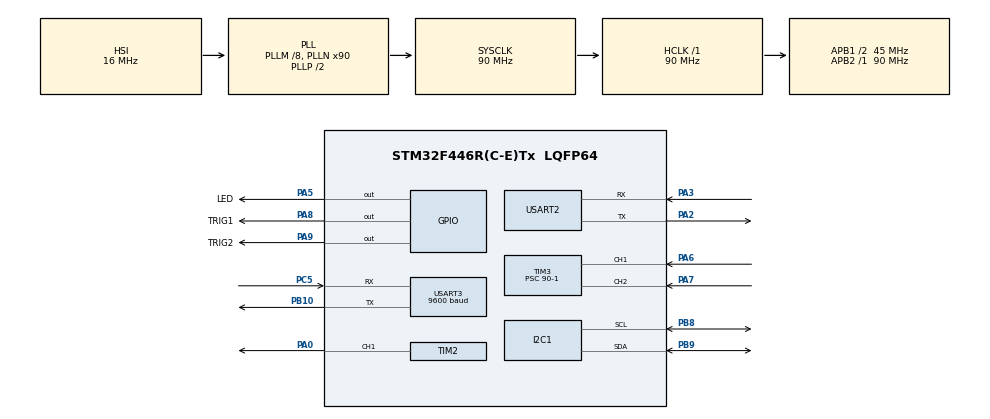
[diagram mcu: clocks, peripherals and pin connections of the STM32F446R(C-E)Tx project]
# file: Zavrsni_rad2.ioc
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Mcu.Family=STM32F4
Mcu.Name=STM32F446R(C-E)Tx
Mcu.Package=LQFP64
NVIC.PriorityGroup=NVIC_PRIORITYGROUP_4
NVIC.TIM2_IRQn=true\:0\:0\:false\:false\:true\:true\:true\:true
NVIC.TIM3_IRQn=true\:0\:0\:false\:false\:true\:true\:true\:true
NVIC.USART3_IRQn=true\:0\:0\:false\:false\:true\:true\:true\:true
PA0-WKUP.Signal=S_TIM2_CH1_ETR
PA13.Mode=Serial_Wire
PA13.Signal=SYS_JTMS-SWDIO
PA14.Mode=Serial_Wire
PA14.Signal=SYS_JTCK-SWCLK
PA2.Mode=Asynchronous
PA2.Signal=USART2_TX
PA3.Mode=Asynchronous
PA3.Signal=USART2_RX
PA5.GPIO_Label=LED
PA5.Signal=GPIO_Output
PA6.Signal=S_TIM3_CH1
PA7.Signal=S_TIM3_CH2
PA8.GPIO_Label=TRIG1
PA8.Signal=GPIO_Output
PA9.GPIO_Label=TRIG2
PA9.Signal=GPIO_Output
PB10.Mode=Asynchronous
PB10.Signal=USART3_TX
PB8.Mode=I2C
PB8.Signal=I2C1_SCL
PB9.Mode=I2C
PB9.Signal=I2C1_SDA
PC5.Mode=Asynchronous
PC5.Signal=USART3_RX
ProjectManager.HeapSize=0x200
ProjectManager.StackSize=0x400
ProjectManager.TargetToolchain=STM32CubeIDE
RCC.AHBFreq_Value=90000000
RCC.APB1CLKDivider=RCC_HCLK_DIV2
RCC.APB1Freq_Value=45000000
RCC.APB1TimFreq_Value=90000000
RCC.APB2Freq_Value=90000000
RCC.APB2TimFreq_Value=90000000
RCC.CortexFreq_Value=90000000
RCC.HCLKFreq_Value=90000000
RCC.PLLM=8
RCC.PLLN=90
RCC.SYSCLKFreq_VALUE=90000000
RCC.SYSCLKSource=RCC_SYSCLKSOURCE_PLLCLK
RCC.USBFreq_Value=90000000
RCC.VCOOutputFreq_Value=180000000
SH.S_TIM2_CH1_ETR.0=TIM2_CH1,PWM Generation1 CH1
SH.S_TIM3_CH1.0=TIM3_CH1,Input_Capture1_from_TI1
SH.S_TIM3_CH2.0=TIM3_CH2,Input_Capture2_from_TI2
TIM2.Channel-PWM\ Generation1\ CH1=TIM_CHANNEL_1
TIM2.Period=1000-1
TIM2.Prescaler=1800-1
TIM3.Channel-Input_Capture1_from_TI1=TIM_CHANNEL_1
TIM3.Channel-Input_Capture2_from_TI2=TIM_CHANNEL_2
TIM3.ICPolarity_CH1=TIM_INPUTCHANNELPOLARITY_BOTHEDGE
TIM3.ICPolarity_CH2=TIM_INPUTCHANNELPOLARITY_BOTHEDGE
TIM3.Prescaler=90-1
TIM4.Prescaler=90-1
USART2.VirtualMode=VM_ASYNC
USART3.BaudRate=9600
USART3.VirtualMode=VM_ASYNC
VP_TIM2_VS_ClockSourceINT.Mode=Internal
VP_TIM3_VS_ClockSourceINT.Mode=Internal
VP_TIM4_VS_ClockSourceINT.Mode=Internal
board=custom

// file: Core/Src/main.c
/* USER CODE BEGIN Header */
/**
 ******************************************************************************
 * @file           : main.c
 * @brief          : Main program body
 ******************************************************************************
 * @attention
 *
 * Copyright (c) 2023 STMicroelectronics.
 * All rights reserved.
 *
 * This software is licensed under terms that can be found in the LICENSE file
 * in the root directory of this software component.
 * If no LICENSE file comes with this software, it is provided AS-IS.
 *
 ******************************************************************************
 */
/* USER CODE END Header */
#include "main.h"
#include "i2c.h"
#include "tim.h"
#include "usart.h"
#include "gpio.h"

/* USER CODE BEGIN Includes */
#include <string.h>
#include <stdio.h>
#include <math.h>
#include <lcd.h>
/* USER CODE END Includes */

/* USER CODE BEGIN PV */
uint8_t rxPodatak;
const float BrzinaZvuka = 0.0343 / 2;
float udaljenost1, udaljenost2;
char Buffer[100];
char buffer2[100];
float popunjenost;
uint8_t Flag1 = 0, Flag2 = 0;
uint8_t Capture_indeks1 = 0, Capture_indeks2 = 0;
uint32_t Brid1Vrijeme_1 = 0, Brid2Vrijeme_1 = 0, Brid1Vrijeme_2= 0,Brid2Vrijeme_2 = 0;
uint8_t popunjenost_int;
uint32_t Vrijeme_Zadnjeg_Slanja = 0;
uint32_t Vrijeme_Zadnjeg_Slanja2 = 0;
#define Delay_ms 2000
#define Delay_ms2 2000
uint8_t kanta_stanje=0;
uint8_t aplikacija_stanje=0;

/* USER CODE END PV */

void SystemClock_Config(void);
/* USER CODE BEGIN PFP */
void Delay_us(uint32_t us);

void Ultrazvucni_senzor1(void) {
	HAL_GPIO_WritePin(TRIG1_GPIO_Port, TRIG1_Pin, GPIO_PIN_RESET);   // Postavljanje TRIG pin-a u nisko stanje (low) na 3us
	Delay_us(3);
	HAL_GPIO_WritePin(TRIG1_GPIO_Port, TRIG1_Pin, GPIO_PIN_SET);     // Postavljanje TRIG pin-a u visoko stanje (high) na 10us
	Delay_us(10);
	HAL_GPIO_WritePin(TRIG1_GPIO_Port, TRIG1_Pin, GPIO_PIN_RESET);   // Vraćanje TRIG pin-a u nisko stanje (low)

	HAL_TIM_IC_Start_IT(&htim3, TIM_CHANNEL_1);                    // Pokretanje input capture Timera 3, channel 1 s interruptom
	uint32_t startniTick1 = HAL_GetTick();
	do {
		if (Flag1) break;                           // Provjerava se vrijednost Flag-a, ako je vrijednost Flag-a "1" prekida se petlja (zna�?i da smo dobili vrijeme prvog i drugog brida) iz Callback funkcije
	} while ((HAL_GetTick() - startniTick1) < 500);                  // Ako puls nije došao unutar 500 ms (iz nekog razloga) stopira se timer kako program ne bi zapeo
	Flag1 = 0;
	HAL_TIM_IC_Stop_IT(&htim3, TIM_CHANNEL_1);                     // Stopiranje timera

	if (Brid2Vrijeme_1 > Brid1Vrijeme_1) {
		udaljenost1 = ((Brid2Vrijeme_1 - Brid1Vrijeme_1) + 0.0f) * BrzinaZvuka; // Izračun udaljenosti u cm pomoću dobivenih vrijednosti bridova i formule  te pretvaranje u float varijablu
	}
	else {
		udaljenost1 = 0.0f;
	}
}
void Servo_pomicanje() {
    if (udaljenost1 != 0.0 && udaljenost1 < 20.0 && aplikacija_stanje==0) {
    	lcd_ocisti();
    	lcd_postavi_kursor(0, 0);
    	lcd_slanje_stringa("Kanta otvorena");
        kanta_stanje = 1;
        htim2.Instance->CCR1 = 95;  // Faktor vođenja = 9,5%
        HAL_Delay(6000);

        htim2.Instance->CCR1 = 65;  // Faktor vođenja = 6,5%
        HAL_Delay(2000);

        kanta_stanje = 0;
    }
}
void Ultrazvucni_senzor2(void){
	//Drugi senzor HCSR-04
	HAL_GPIO_WritePin(TRIG2_GPIO_Port, TRIG2_Pin, GPIO_PIN_RESET);  // Postavljanje TRIG pin-a u nisko stanje (low) na 3us
	Delay_us(4);
	HAL_GPIO_WritePin(TRIG2_GPIO_Port, TRIG2_Pin, GPIO_PIN_SET);    // Postavljanje TRIG pin-a u visoko stanje (high) na 10us
	Delay_us(10);
	HAL_GPIO_WritePin(TRIG2_GPIO_Port, TRIG2_Pin, GPIO_PIN_RESET);  // Vraćanje TRIG pin-a u nisko stanje (low)

	HAL_TIM_IC_Start_IT(&htim3, TIM_CHANNEL_2);                     //Pokretanje input capture Timera 3, channel 2 s interruptom
	uint32_t startniTick2 = HAL_GetTick();                            //Po�?etni tick
	do {
		if (Flag2) break;                           // Provjerava se vrijednost Flag-a, ako je vrijednost Flag-a "1" prekida se petlja (zna�?i da smo dobili vrijeme prvog i drugo brida) iz Callback funkcije
	} while ((HAL_GetTick() - startniTick2) < 500);                   // Ako puls nije došao unutar 500 ms (iz nekog razloga) stopira se timer kako program nebi zapeo
	Flag2 = 0;
	HAL_TIM_IC_Stop_IT(&htim3, TIM_CHANNEL_2);                      // Stopiranje timera

	if (Brid2Vrijeme_2 > Brid1Vrijeme_2) {
		udaljenost2 = ((Brid2Vrijeme_2 - Brid1Vrijeme_2) + 0.0f) * BrzinaZvuka;  //Izračun udaljenosti u cm pomoću dobivenih vrijednosti bridova i formule  te pretvaranje u float varijablu
		popunjenost=((1.0 - 0.0) / (3.0 - 24.7)) * (udaljenost2 - 24.7) * 100.0;

		popunjenost_int = (uint8_t)(round(popunjenost / 5.0) * 5);

	}
}
void UART_slanje_postotka(uint8_t* podatak, size_t velicina) {
	uint16_t Trenutno_Vrijeme = HAL_GetTick();

	if ((Trenutno_Vrijeme - Vrijeme_Zadnjeg_Slanja) >= Delay_ms ) {

		HAL_UART_Transmit(&huart3, podatak, velicina, 100);

		Vrijeme_Zadnjeg_Slanja = Trenutno_Vrijeme;
	}
}

void Lcd_prikaz(uint8_t popunjenost_int) {
	uint16_t Trenutno_Vrijeme2 = HAL_GetTick();

	if (Trenutno_Vrijeme2 - Vrijeme_Zadnjeg_Slanja2 >= Delay_ms2 && kanta_stanje == 0) {
		lcd_ocisti();
		if (popunjenost_int < 85) {
		    sprintf(buffer2, "Popunjeno %d%%", popunjenost_int);
		} else if (popunjenost_int >= 85 ) {
		    sprintf(buffer2, "Isprazni kantu!");
		    lcd_postavi_kursor(1, 0);
		    lcd_slanje_stringa("Kanta je puna!");
		}

		lcd_postavi_kursor(0, 0);
		lcd_slanje_stringa(buffer2);

		Vrijeme_Zadnjeg_Slanja2 = Trenutno_Vrijeme2;

	}
}

/* USER CODE END PFP */

int main(void)
{

	/* MCU Configuration--------------------------------------------------------*/

	/* Reset of all peripherals, Initializes the Flash interface and the Systick. */
	HAL_Init();

	/* Configure the system clock */
	SystemClock_Config();

	/* Initialize all configured peripherals */
	MX_GPIO_Init();
	MX_I2C1_Init();
	MX_TIM2_Init();
	MX_TIM3_Init();
	MX_TIM4_Init();
	MX_USART2_UART_Init();
	MX_USART3_UART_Init();
	/* USER CODE BEGIN 2 */
	HAL_UART_Receive_IT(&huart3,&rxPodatak,1);
	lcd_inicijalizacija ();
	HAL_TIM_PWM_Start(&htim2, TIM_CHANNEL_1);
	lcd_ocisti();

	/* USER CODE END 2 */

	/* Infinite loop */
	/* USER CODE BEGIN WHILE */
	while (1)
	{
		Ultrazvucni_senzor1();
		Servo_pomicanje();
		Ultrazvucni_senzor2();
		//Ispisivanje na RealTerm
		sprintf(Buffer, "popunjenost= %.1f, popunjenost{int} = %d %, udaljenost 2 (cm) = %.1f, udaljenost 1 (cm) = %.1f\r\n ",popunjenost, popunjenost_int, udaljenost2, udaljenost1);
		HAL_UART_Transmit(&huart2, (uint8_t *)Buffer, strlen(Buffer), 100);

		Lcd_prikaz(popunjenost_int);
		UART_slanje_postotka(&popunjenost_int, sizeof(popunjenost_int));

		/* USER CODE END WHILE */

	}
}

void SystemClock_Config(void)
{
	RCC_OscInitTypeDef RCC_OscInitStruct = {0};
	RCC_ClkInitTypeDef RCC_ClkInitStruct = {0};

	/** Configure the main internal regulator output voltage
	 */
	__HAL_RCC_PWR_CLK_ENABLE();
	__HAL_PWR_VOLTAGESCALING_CONFIG(PWR_REGULATOR_VOLTAGE_SCALE3);

	/** Initializes the RCC Oscillators according to the specified parameters
	 * in the RCC_OscInitTypeDef structure.
	 */
	RCC_OscInitStruct.OscillatorType = RCC_OSCILLATORTYPE_HSI;
	RCC_OscInitStruct.HSIState = RCC_HSI_ON;
	RCC_OscInitStruct.HSICalibrationValue = RCC_HSICALIBRATION_DEFAULT;
	RCC_OscInitStruct.PLL.PLLState = RCC_PLL_ON;
	RCC_OscInitStruct.PLL.PLLSource = RCC_PLLSOURCE_HSI;
	RCC_OscInitStruct.PLL.PLLM = 8;
	RCC_OscInitStruct.PLL.PLLN = 90;
	RCC_OscInitStruct.PLL.PLLP = RCC_PLLP_DIV2;
	RCC_OscInitStruct.PLL.PLLQ = 2;
	RCC_OscInitStruct.PLL.PLLR = 2;
	if (HAL_RCC_OscConfig(&RCC_OscInitStruct) != HAL_OK)
	{
		Error_Handler();
	}

	/** Initializes the CPU, AHB and APB buses clocks
	 */
	RCC_ClkInitStruct.ClockType = RCC_CLOCKTYPE_HCLK|RCC_CLOCKTYPE_SYSCLK
			|RCC_CLOCKTYPE_PCLK1|RCC_CLOCKTYPE_PCLK2;
	RCC_ClkInitStruct.SYSCLKSource = RCC_SYSCLKSOURCE_PLLCLK;
	RCC_ClkInitStruct.AHBCLKDivider = RCC_SYSCLK_DIV1;
	RCC_ClkInitStruct.APB1CLKDivider = RCC_HCLK_DIV2;
	RCC_ClkInitStruct.APB2CLKDivider = RCC_HCLK_DIV1;

	if (HAL_RCC_ClockConfig(&RCC_ClkInitStruct, FLASH_LATENCY_2) != HAL_OK)
	{
		Error_Handler();
	}
}

/* USER CODE BEGIN 4 */

void HAL_UART_RxCpltCallback(UART_HandleTypeDef *huart)
{
	if(huart->Instance==USART3)
	{
		if(rxPodatak==79) // Ascii 79 je "O"
		{
			kanta_stanje=1;
			aplikacija_stanje=1;
			htim2.Instance->CCR1 = 95;
			lcd_ocisti();
			lcd_postavi_kursor(0, 0);
			lcd_slanje_stringa("Kanta otvorena");

		}
		else if (rxPodatak==88) // Ascii 88 je "X"
		{
			htim2.Instance->CCR1 = 65;
			kanta_stanje=0;
			aplikacija_stanje=0;
		}
		HAL_UART_Receive_IT(&huart3,&rxPodatak,1);
	}
}
void Delay_us(uint32_t us)
{
	if(us < 2) us = 2;
	TIM4->ARR = us - 1;
	TIM4->EGR = 1;
	TIM4->SR &= ~1;
	TIM4->CR1 |= 1;
	while((TIM4->SR&0x0001) != 1);
	TIM4->SR &= ~(0x0001);
}
void HAL_TIM_IC_CaptureCallback(TIM_HandleTypeDef *htim) {
	// Input capture callback funkcija za Timer 3, channel 1 i channel 2, oba ultrazvu�?na senzora
	if (htim->Instance == TIM3) {    // Provjera da li se interrupt dogodio na Timeru 3
		// Prvi ultrazvucni senzor kojem je echo pin spojen na TIM3_CHANNEL_1
		if (htim->Channel == HAL_TIM_ACTIVE_CHANNEL_1) {                         // Provjerava se channel timera na kojem se događa interrupt
			if (Capture_indeks1 == 0) {                                            //Provjera da li  indeks capture ima vrijednost 0
				Brid1Vrijeme_1 = HAL_TIM_ReadCapturedValue(&htim3, TIM_CHANNEL_1); // Dohvaćanje vrijednosti prvog brida
				Capture_indeks1 = 1;                                                 //Postavljanje capture indeksa u 1
			} else if (Capture_indeks1== 1) {                                      //Provjera da li  indeks capture ima vrijednost 1
				Brid2Vrijeme_1 = HAL_TIM_ReadCapturedValue(&htim3, TIM_CHANNEL_1); // Dohvaćanje vrijednosti drugog brida
				Capture_indeks1 = 0;                                                 // Vraćanje capture indeksa u 0
				Flag1 = 1;                                                           // Postavljanje flag-a u 1
			}
		}
		//Drugi ultrazvucni senzor kojem je echo pin spojen na TIM3_CHANNEL_2
		if (htim->Channel == HAL_TIM_ACTIVE_CHANNEL_2) {                         // Provjerava se channel timera na kojem se događa interrupt
			if (Capture_indeks2 == 0) {                                            //Provjera da li  indeks capture ima vrijednost 0
				Brid1Vrijeme_2 = HAL_TIM_ReadCapturedValue(&htim3, TIM_CHANNEL_2); // Dohvaćanje vrijednosti prvog brida
				Capture_indeks2 = 1;                                                 //Postavljanje capture indeksa u 1
			} else if (Capture_indeks2 == 1) {                                     //Provjera da li  indeks capture ima vrijednost 1
				Brid2Vrijeme_2 = HAL_TIM_ReadCapturedValue(&htim3, TIM_CHANNEL_2); // Dohvaćanje vrijednosti drugog brida
				Capture_indeks2 = 0;                                                 // Vraćanje capture indeksa u 0
				Flag2 = 1;                                                           // Postavljanje flag-a u 1
			}
		}
	}
}
/* USER CODE END 4 */

void Error_Handler(void)
{
	__disable_irq();
	while (1)
	{
	}
}
